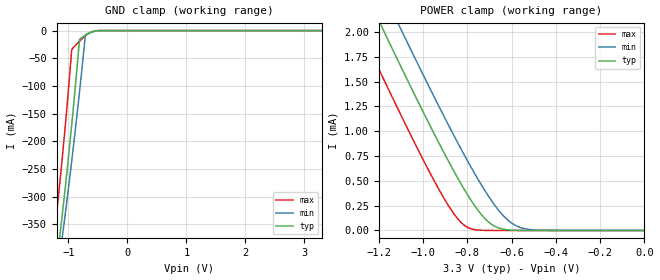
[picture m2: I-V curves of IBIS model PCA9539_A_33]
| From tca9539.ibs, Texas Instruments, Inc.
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[Model]   PCA9539_A_33
Model_type  Input
Vinl=0.9
Vinh=2.52
| variable   typ   min   max
C_comp   2.29pF   1.62pF   5.22pF
[Temperature Range]   40   100   -40
| Ambient temperature   25   85   -40
[Voltage range]   3.3   3   3.6
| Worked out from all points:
|   GND clamp passes 1 mA (typ) near -0.54 V on its own axis
|   POWER clamp passes 1 mA (typ) near -0.96 V on its own axis
[GND Clamp]
| PCA9539_A_33
|   Voltage   I(typ)   I(min)   I(max)
-5.5V     -1.952A    -1.991A    -1.822A
-1.24V    -456.1mA   -482.2mA   -371.1mA
-1.205V   -425.8mA   -455.2mA   -337.1mA
-1.135V   -362.9mA   -399.8mA   -265.2mA
-1.1V     -330.1mA   -371.2mA   -227.1mA
-1.07V    -301.2mA   -346.3mA   -193.2mA
-1.005V   -236.2mA   -290.9mA   -115.2mA
-945mV    -172.6mA   -237.7mA   -36.94mA
-810mV    -16.02mA   -110.1mA   -19.15mA
-710mV    -8.623mA   -7.36mA    -9.218mA
-505mV    -240uA     -374.5uA   -17.49uA
3.3V      82.96pA    13.47nA    51.75pA
[POWER Clamp]
| PCA9539_A_33
|   Voltage   I(typ)   I(min)   I(max)
-5.5V     23.22mA    23.56mA    22.79mA
-1.315V   2.658mA    3.034mA    2.172mA
-1.25V    2.35mA     2.727mA    1.863mA
-1.195V   2.092mA    2.469mA    1.605mA
-1.095V   1.628mA    2.005mA    1.141mA
-935mV    911uA      1.281mA    441.2uA
-835mV    496.2uA    849.9uA    97.5uA
-785mV    311.2uA    645.8uA    18.53uA
-715mV    108uA      382.7uA    733.7nA
-610mV    5.103uA    92.47uA    4.56nA
-490mV    68.88nA    4.139uA    85.52pA
-95.1fV   82.96pA    234.7pA    59.99pA
